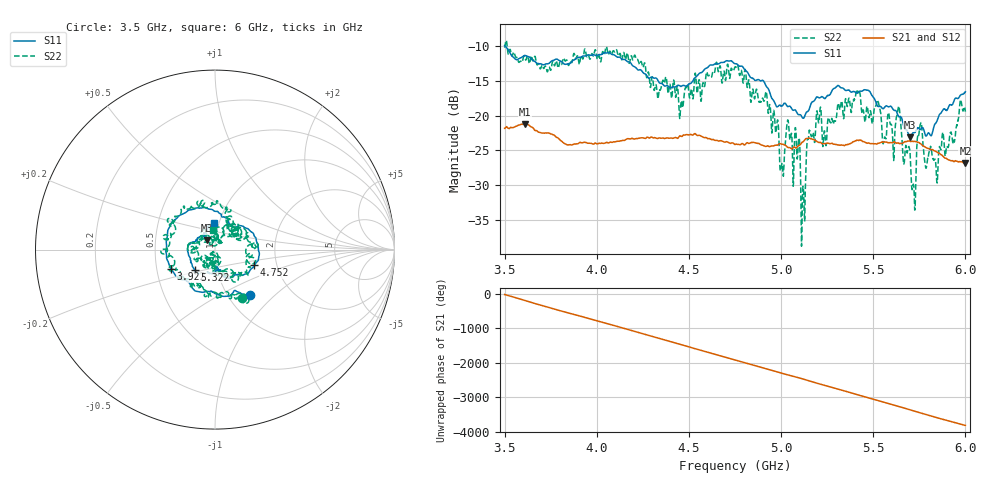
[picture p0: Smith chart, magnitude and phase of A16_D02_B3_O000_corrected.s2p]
! Created with skrf 1.9.0 (http://scikit-rf.org).
# Hz S RI R 50.0
!freq ReS11 ImS11 ReS21 ImS21 ReS12 ImS12 ReS22 ImS22
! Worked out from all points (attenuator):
!   1601 points, 3.5 GHz to 6 GHz, reference 50 ohm
!   highest |S21| = -21.20 dB at 3.611 GHz (marker M1); lowest = -26.8 dB at 6 GHz (marker M2)
!   lowest |S11| = -23.1 dB at 5.698 GHz (marker M3), VSWR 1.15, Z = 45.3 + j4.71 ohm
!   |S11| at or under -10 dB: 3.503 GHz to end of sweep
!   |S22| runs from -38.8 to -9.2 dB; largest |S21 - S12| = 0.00097
!   S11 on the Smith chart (normalised r, x): 3.5 GHz: 1.26, -0.71; 3.922 GHz: 0.60, -0.14; 4.752 GHz: 1.53, -0.28; 5.322 GHz: 0.78, -0.18; 6 GHz: 0.94, +0.29
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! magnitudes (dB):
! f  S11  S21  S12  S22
! 3.5 GHz  -9.9  -21.8  -21.8  -10.2
! 3.611 GHz  -11.3  -21.2  -21.2  -11.8
! 3.917 GHz  -11.5  -23.9  -23.9  -11.3
! 3.922 GHz  -11.5  -23.9  -23.9  -11.7
! 4.334 GHz  -15.1  -23.2  -23.2  -17.2
! 4.75 GHz  -12.5  -24.2  -24.1  -13.0
! 4.752 GHz  -12.5  -24.1  -24.1  -13.0
! 4.927 GHz  -16.0  -24.3  -24.3  -18.6
! 5.005 GHz  -18.6  -24.1  -24.1  -26.9
! 5.034 GHz  -18.7  -24.5  -24.4  -20.8
! 5.088 GHz  -19.6  -24.5  -24.5  -26.2
! 5.119 GHz  -20.4  -23.7  -23.7  -30.2
! 5.147 GHz  -19.3  -23.3  -23.2  -23.4
! 5.167 GHz  -18.1  -23.3  -23.3  -23.0
! 5.322 GHz  -15.9  -24.2  -24.2  -19.0
! 5.584 GHz  -18.7  -23.9  -23.9  -19.6
! 5.638 GHz  -20.1  -23.9  -23.9  -18.7
! 5.698 GHz  -23.1  -23.6  -23.6  -24.9
! 5.719 GHz  -22.4  -23.7  -23.6  -30.0
! 5.752 GHz  -21.9  -23.9  -23.9  -21.7
! 5.841 GHz  -21.0  -25.1  -25.1  -27.4
! 6 GHz  -16.6  -26.8  -26.7  -19.4
